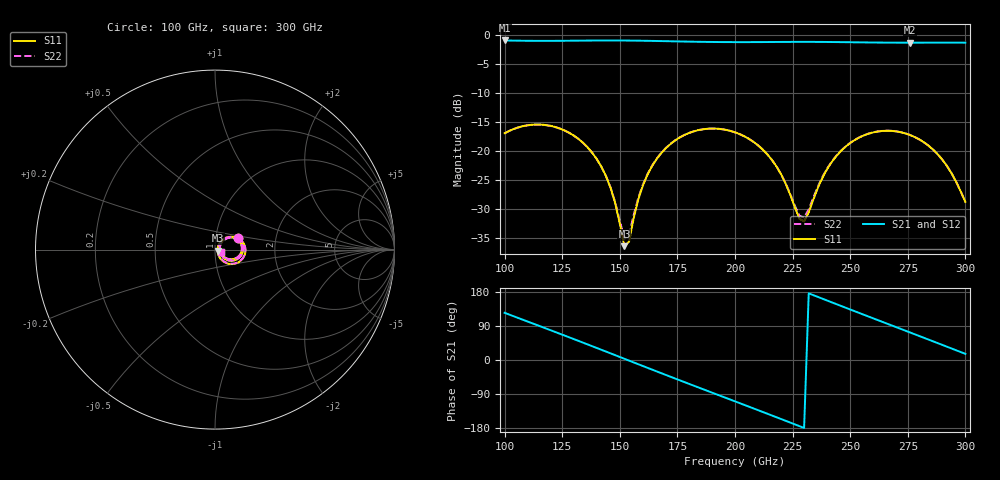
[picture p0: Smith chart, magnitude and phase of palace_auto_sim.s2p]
#  GHZ S DB R 50
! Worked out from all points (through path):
!   101 points, 100 GHz to 300 GHz, reference 50 ohm
!   highest |S21| = -0.87 dB at 100 GHz (marker M1); lowest = -1.3 dB at 276 GHz (marker M2)
!   group delay of S21, straight-line fit = 6.51 ps
!   lowest |S11| = -36.4 dB at 152 GHz (marker M3), VSWR 1.03, Z = 51.4 - j0.544 ohm
!   |S11| at or under -10 dB: start of sweep to end of sweep
!   |S22| runs from -35.2 to -15.4 dB; largest |S21 - S12| = 1.5e-13
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100  -16.92 27.2  -0.87 124.5  -0.87 124.5  -16.93 27.6
116  -15.42 -6.0  -0.94 87.7  -0.94 87.7  -15.44 -5.4
134  -18.54 -43.1  -0.90 45.9  -0.90 45.9  -18.56 -41.8
144  -24.33 -58.9  -0.88 22.2  -0.88 22.2  -24.30 -56.3
148  -29.01 -57.8  -0.88 12.7  -0.88 12.7  -28.83 -53.6
152  -36.43 -20.5  -0.88 3.2  -0.88 3.2  -35.16 -16.3
154  -35.65 26.0  -0.89 -1.6  -0.89 -1.6  -34.46 23.0
160  -25.97 55.3  -0.92 -15.8  -0.92 -15.8  -25.80 52.9
168  -20.34 45.6  -0.98 -34.8  -0.98 -34.8  -20.30 44.4
184  -16.38 14.8  -1.10 -72.1  -1.10 -72.1  -16.38 14.5
200  -16.75 -16.3  -1.16 -109.2  -1.16 -109.2  -16.76 -16.2
216  -21.51 -42.1  -1.14 -146.4  -1.14 -146.4  -21.51 -41.2
228  -31.70 -14.8  -1.12 -174.6  -1.12 -174.6  -31.18 -12.8
230  -32.13 9.8  -1.12 -179.4  -1.12 -179.4  -31.48 9.8
234  -28.37 42.0  -1.12 171.1  -1.12 171.1  -28.03 40.1
240  -23.11 48.1  -1.13 156.9  -1.13 156.9  -22.99 46.7
248  -19.23 38.2  -1.17 138.0  -1.17 138.0  -19.19 37.2
258  -16.98 19.9  -1.22 114.6  -1.22 114.6  -16.96 19.3
268  -16.50 0.4  -1.25 91.3  -1.25 91.3  -16.50 -0.0
276  -17.22 -14.8  -1.25 72.6  -1.25 72.6  -17.22 -15.2
290  -21.48 -36.5  -1.25 39.8  -1.25 39.8  -21.49 -36.7
300  -28.81 -25.8  -1.25 16.2  -1.25 16.2  -28.79 -25.6
